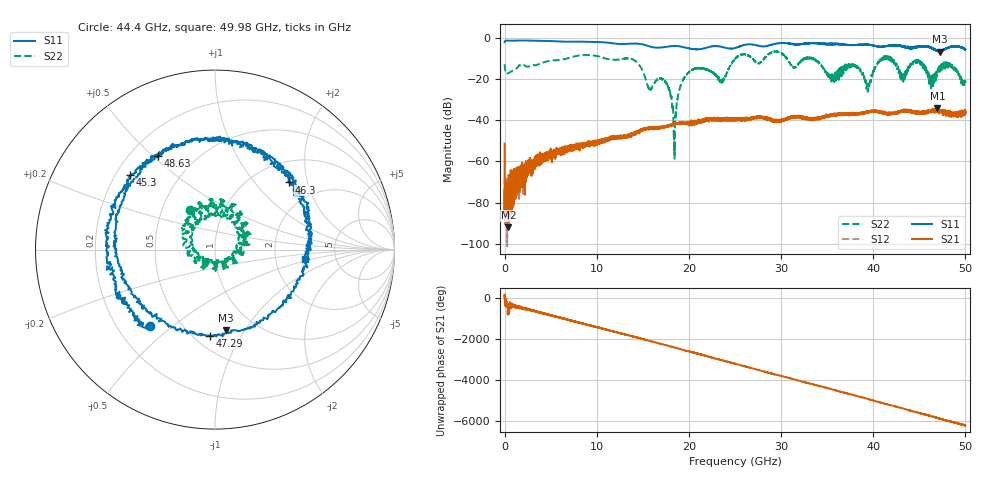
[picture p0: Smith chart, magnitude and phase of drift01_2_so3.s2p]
!Created with skrf (http://scikit-rf.org).
# Hz S RI R 50.0
!freq ReS11 ImS11 ReS21 ImS21 ReS12 ImS12 ReS22 ImS22
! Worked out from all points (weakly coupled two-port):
!   10001 points, 300 kHz to 50 GHz, reference 50 ohm
!   highest |S21| = -34.31 dB at 46.96 GHz (marker M1); lowest = -92.0 dB at 415.3 MHz (marker M2)
!   lowest |S11| = -6.8 dB at 47.21 GHz (marker M3), VSWR 2.67, Z = 36.6 - j41.6 ohm
!   |S11| at or under -10 dB: nowhere
!   |S22| runs from -58.7 to -6.6 dB; largest |S21 - S12| = 0.0045
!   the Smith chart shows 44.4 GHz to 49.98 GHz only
!   S11 on the Smith chart (normalised r, x): 44.4 GHz: 0.34, -0.42; 45.3 GHz: 0.26, +0.35; 46.3 GHz: 1.42, +1.54; 47.29 GHz: 0.59, -0.75; 48.63 GHz: 0.32, +0.52; 49.98 GHz: 2.99, -0.43
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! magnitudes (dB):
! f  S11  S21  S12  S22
! 300 kHz  -2.1  -51.4  -67.8  -12.9
! 415.3 MHz  -1.4  -92.0  -66.7  -17.1
! 8.335 GHz  -2.0  -52.1  -52.3  -8.5
! 16.67 GHz  -4.9  -44.1  -43.7  -19.9
! 17.74 GHz  -4.4  -42.7  -42.9  -23.5
! 18.42 GHz  -4.1  -41.7  -41.8  -54.6
! 19.9 GHz  -5.2  -41.1  -41.4  -17.2
! 23.59 GHz  -4.5  -39.3  -39.5  -20.2
! 25 GHz  -5.0  -39.4  -39.4  -10.4
! 33.34 GHz  -2.6  -39.6  -39.2  -10.0
! 39.37 GHz  -3.4  -36.1  -36.0  -23.3
! 41.67 GHz  -3.9  -37.2  -36.7  -9.7
! 43.19 GHz  -4.3  -35.8  -35.8  -19.5
! 44.4 GHz  -5.1  -36.3  -36.2  -11.7
! 45.3 GHz  -4.0  -35.8  -36.3  -13.3
! 46.3 GHz  -5.1  -35.7  -35.4  -22.0
! 46.96 GHz  -6.4  -34.3  -35.4  -17.0
! 47.21 GHz  -6.8  -35.7  -35.4  -14.4
! 47.29 GHz  -6.3  -35.1  -36.0  -16.0
! 48.63 GHz  -4.3  -37.2  -37.8  -14.9
! 49.98 GHz  -5.9  -35.5  -36.1  -21.3
! 50 GHz  -5.7  -35.6  -37.0  -21.7
